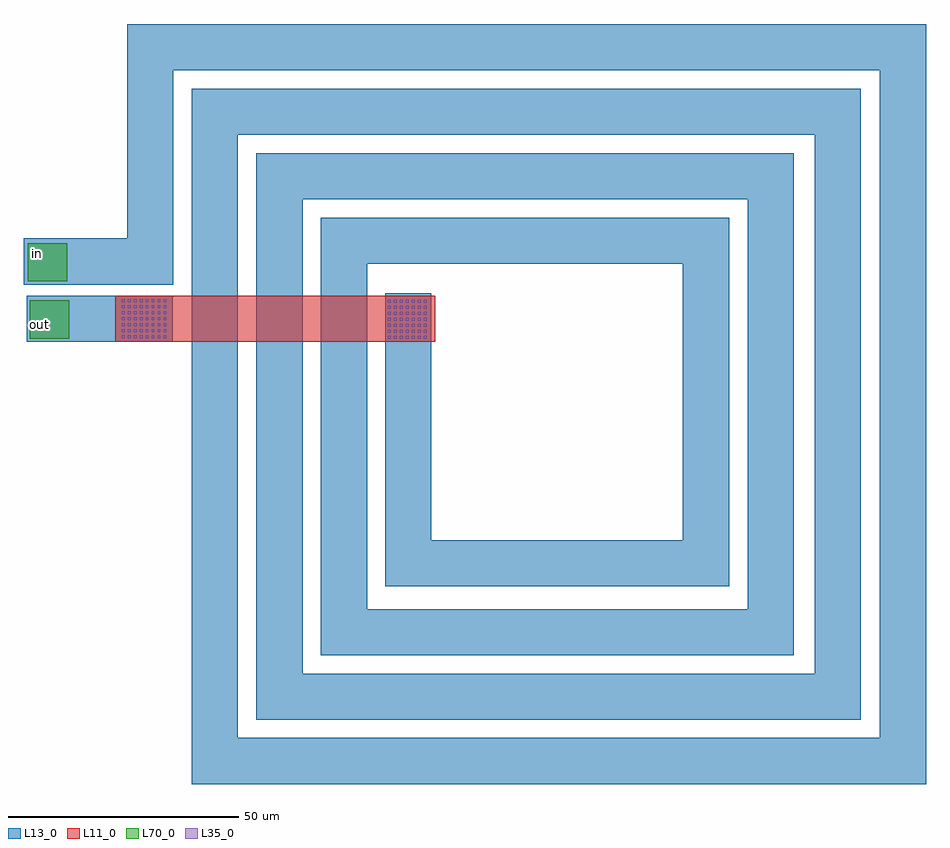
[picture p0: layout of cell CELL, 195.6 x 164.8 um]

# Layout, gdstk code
import gdstk
lib = gdstk.Library(unit=1e-6, precision=1e-09)
def R(c, l, rs):  # rectangles x0, y0, x1, y1
    for r in rs: c.add(gdstk.rectangle(r[:2], r[2:], *l))
def A(c, l, x, y, w, h, nx, ny, dx, dy):  # array of equal rectangles
    R(c, l, [(x+i*dx, y+j*dy, x+i*dx+w, y+j*dy+h) for i in range(nx) for j in range(ny)])
def P(c, l, *ps):  # polygons
    for p in ps: c.add(gdstk.Polygon(p, *l))
L11_0 = (11, 0)
L13_0 = (13, 0)
L35_0 = (35, 0)
L70_0 = (70, 0)

cell = lib.new_cell('CELL')
P(cell, L13_0, [(-91.9,84.2),(-91.9,37.7),(-114.3,37.7),(-114.3,27.7),(-81.9,27.7),(-81.9,74.2),(71.3,74.2),(71.3,-70.6),(-67.9,-70.6),(-67.9,60.2),(57.2,60.2),(57.2,-56.7),(-53.9,-56.7),(-53.9,46.2),(42.6,46.2),(42.6,-42.7),(-39.9,-42.7),(-39.9,32.2),(28.6,32.2),(28.6,-27.7),(-26,-27.7),(-26,25.8),(-36,25.8),(-36,-37.7),(38.6,-37.7),(38.6,42.2),(-50,42.2),(-50,32.2),(-49.9,32.2),(-49.9,-42.7),(-50,-42.7),(-50,-52.7),(52.6,-52.7),(52.6,56.2),(-63.9,56.2),(-63.9,-66.7),(67.2,-66.7),(67.2,70.2),(-77.9,70.2),(-77.9,-80.6),(81.3,-80.6),(81.3,84.2)])
A(cell, L35_0, -35.4, 16, 0.6, 0.6, 7, 7, 1.3, 1.3)
A(cell, L35_0, -93.1, 16.1, 0.6, 0.6, 8, 7, 1.3, 1.3)
R(cell, L70_0, [(-113,16,-104.5,24.3), (-113.5,28.4,-104.9,36.7)])
cell.add(gdstk.FlexPath([(-30.1,20.3),(-89.5,20.3)], 10, ends="extended", simple_path=True, layer=11, datatype=0))  # L11_0
cell.add(gdstk.FlexPath([(-108.7,20.3),(-87,20.3)], 10, ends="extended", simple_path=True, layer=13, datatype=0))  # L13_0
cell.add(gdstk.Label('in', (-111.4,34.5), layer=70, texttype=1))
cell.add(gdstk.Label('out', (-111,19.1), layer=70, texttype=1))

lib.write_gds('CELL.gds')
